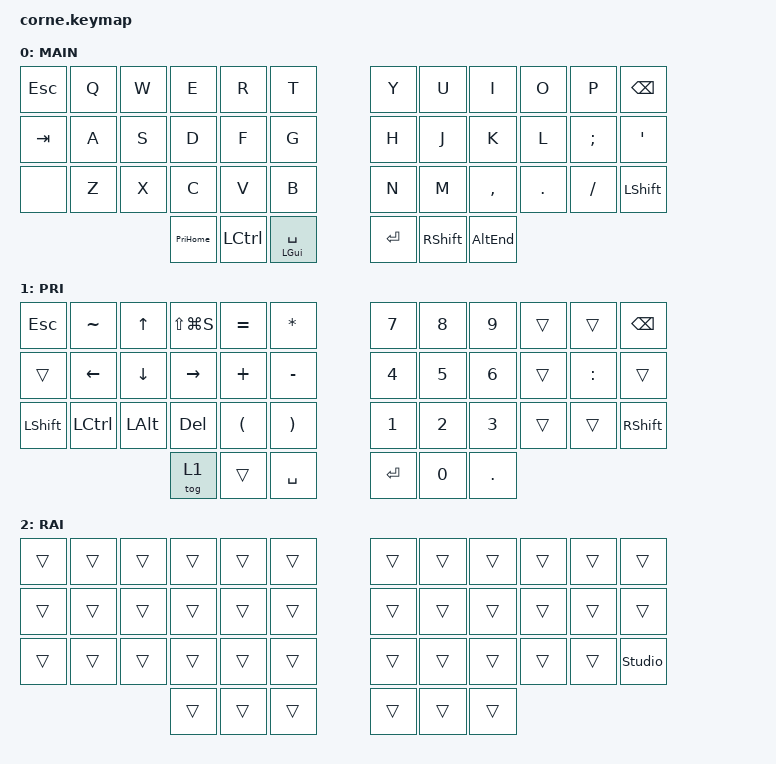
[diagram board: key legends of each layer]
/*
 * Copyright (c) 2020 The ZMK Contributors
 *
 * SPDX-License-Identifier: MIT
 */

#include <dt-bindings/led/led.h>
#include <dt-bindings/zmk/reset.h>
#include <behaviors.dtsi>
#include <dt-bindings/zmk/keys.h>

&led_strip { chain-length = <27>; };

/ {
    combos {
        compatible = "zmk,combos";

        EsQapeDelete {
            bindings = <&kp DEL>;
            key-positions = <0 1>;
        };

        ShiftThumb.Caps {
            bindings = <&kp CAPSLOCK>;
            key-positions = <35 41>;
        };

        LThumbTripleEnter {
            bindings = <&kp ENTER>;
            key-positions = <36 37 38>;
        };
    };

    behaviors {
        SpaceWin: SpaceWin {
            compatible = "zmk,behavior-hold-tap";
            label = "SPACEWIN";
            bindings = <&kp>, <&kp>;

            #binding-cells = <2>;
            tapping-term-ms = <200>;
            flavor = "tap-preferred";
            require-prior-idle-ms = <125>;
        };

        AltEnd: AltEnd {
            compatible = "zmk,behavior-tap-dance";
            label = "ALTEND";
            #binding-cells = <0>;
            bindings = <&kp RIGHT_ALT>, <&kp END>;
        };

        PriHome: PriHome {
            compatible = "zmk,behavior-tap-dance";
            label = "PRIHOME";
            #binding-cells = <0>;
            bindings = <&mo 1>, <&kp HOME>, <&tog 1>;

            tapping-term-ms = <333>;
        };
    };

    keymap {
        compatible = "zmk,keymap";

        Main {
            display-name = "MAIN";

            // -----------------------------------------------------------------------------------------
            // |  TAB |  Q  |  W  |  E  |  R  |  T  |   |  Y  |  U   |  I  |  O  |  P  | BKSP |
            // | CTRL |  A  |  S  |  D  |  F  |  G  |   |  H  |  J   |  K  |  L  |  ;  |  '   |
            // | SHFT |  Z  |  X  |  C  |  V  |  B  |   |  N  |  M   |  ,  |  .  |  /  | ESC  |
            //                    | GUI | LWR | SPC |   | ENT | RSE  | ALT |

            bindings = <
&kp ESCAPE  &kp Q  &kp W  &kp E     &kp R             &kp T                       &kp Y    &kp U            &kp I      &kp O    &kp P     &kp BSPC
&kp TAB     &kp A  &kp S  &kp D     &kp F             &kp G                       &kp H    &kp J            &kp K      &kp L    &kp SEMI  &kp SQT
&none       &kp Z  &kp X  &kp C     &kp V             &kp B                       &kp N    &kp M            &kp COMMA  &kp DOT  &kp FSLH  &kp LEFT_SHIFT
                          &PriHome  &kp LEFT_CONTROL  &SpaceWin LEFT_GUI SPACE    &kp RET  &kp RIGHT_SHIFT  &AltEnd
            >;
        };

        Prime {
            display-name = "PRI";

            // -----------------------------------------------------------------------------------------
            // |  TAB |  1  |  2  |  3  |  4  |  5  |   |  6  |  7  |  8  |  9  |  0  | BKSP |
            // | BTCLR| BT1 | BT2 | BT3 | BT4 | BT5 |   | LFT | DWN |  UP | RGT |     |      |
            // | SHFT |     |     |     |     |     |   |     |     |     |     |     |      |
            //                    | GUI |     | SPC |   | ENT |     | ALT |

            bindings = <
&kp ESCAPE  &kp TILDE         &kp UP_ARROW    &kp LS(LG(S))  &kp EQUAL             &kp ASTERISK             &kp N7        &kp NUMBER_8  &kp N9        &trans  &trans     &kp BSPC
&trans      &kp LEFT_ARROW    &kp DOWN_ARROW  &kp RIGHT      &kp PLUS              &kp MINUS                &kp NUMBER_4  &kp N5        &kp NUMBER_6  &trans  &kp COLON  &trans
&kp LSHFT   &kp LEFT_CONTROL  &kp LEFT_ALT    &kp DELETE     &kp LEFT_PARENTHESIS  &kp RIGHT_PARENTHESIS    &kp NUMBER_1  &kp NUMBER_2  &kp NUMBER_3  &trans  &trans     &kp RIGHT_SHIFT
                                              &tog 1         &trans                &kp SPACE                &kp RET       &kp N0        &kp PERIOD
            >;
        };

        raise_layer {
            display-name = "RAI";

            // -----------------------------------------------------------------------------------------
            // |  TAB |  !  |  @  |  #  |  $  |  %  |   |  ^  |  &  |  *  |  (  |  )  | BKSP |
            // | CTRL |     |     |     |     |     |   |  -  |  =  |  [  |  ]  |  \  |  `   |
            // | SHFT |     |     |     |     |     |   |  _  |  +  |  {  |  }  | "|" |  ~   |
            //                    | GUI |     | SPC |   | ENT |     | ALT |

            bindings = <
&trans  &trans  &trans  &trans  &trans  &trans    &trans  &trans  &trans  &trans  &trans  &trans
&trans  &trans  &trans  &trans  &trans  &trans    &trans  &trans  &trans  &trans  &trans  &trans
&trans  &trans  &trans  &trans  &trans  &trans    &trans  &trans  &trans  &trans  &trans  &studio_unlock
                        &trans  &trans  &trans    &trans  &trans  &trans
            >;
        };

        extra_1 { status = "reserved"; };

        extra_2 { status = "reserved"; };

        extra_3 { status = "reserved"; };
    };
};
